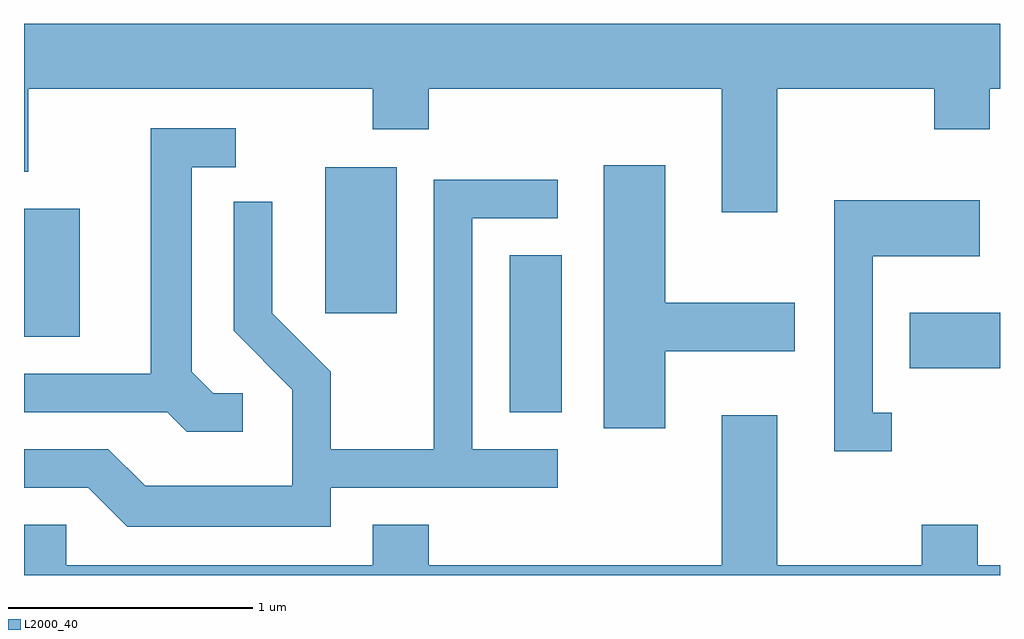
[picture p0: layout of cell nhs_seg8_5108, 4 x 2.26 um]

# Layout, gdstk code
import gdstk
lib = gdstk.Library(unit=1e-6, precision=1e-09)
def R(c, l, rs):  # rectangles x0, y0, x1, y1
    for r in rs: c.add(gdstk.rectangle(r[:2], r[2:], *l))
def P(c, l, *ps):  # polygons
    for p in ps: c.add(gdstk.Polygon(p, *l))
L2000_40 = (2000, 40)

nhs_seg8_5108 = lib.new_cell('nhs_seg8_5108')
R(nhs_seg8_5108, L2000_40, [(339.601,1915.011,339.814,1915.654), (341.241,1915.191,341.611,1915.419), (337.611,1915.321,337.839,1915.844), (338.846,1915.416,339.139,1916.014)])
P(nhs_seg8_5108, L2000_40, [(340.699,1916.336),(341.341,1916.336),(341.341,1916.171),(341.569,1916.171),(341.569,1916.336),(341.611,1916.336),(341.611,1916.604),(337.611,1916.604),(337.611,1915.996),(337.629,1915.996),(337.629,1916.336),(339.041,1916.336),(339.041,1916.171),(339.269,1916.171),(339.269,1916.336),(340.471,1916.336),(340.471,1915.831),(340.699,1915.831)],
  [(338.508,1915.089),(338.387,1915.089),(338.299,1915.177),(338.299,1916.016),(338.478,1916.016),(338.478,1916.174),(338.131,1916.174),(338.131,1915.169),(337.611,1915.169),(337.611,1915.011),(338.199,1915.011),(338.279,1914.931),(338.508,1914.931)],
  [(340.239,1915.261),(340.769,1915.261),(340.769,1915.459),(340.239,1915.459),(340.239,1916.024),(339.986,1916.024),(339.986,1914.946),(340.239,1914.946)],
  [(338.869,1914.701),(339.798,1914.701),(339.798,1914.859),(339.449,1914.859),(339.449,1915.806),(339.798,1915.806),(339.798,1915.964),(339.291,1915.964),(339.291,1914.859),(338.869,1914.859),(338.869,1915.177),(338.629,1915.417),(338.629,1915.873),(338.471,1915.873),(338.471,1915.344),(338.711,1915.104),(338.711,1914.709),(338.107,1914.709),(337.957,1914.859),(337.611,1914.859),(337.611,1914.701),(337.874,1914.701),(338.034,1914.541),(338.869,1914.541)],
  [(341.168,1915.009),(341.089,1915.009),(341.089,1915.651),(341.529,1915.651),(341.529,1915.879),(340.931,1915.879),(340.931,1914.851),(341.168,1914.851)],
  [(341.611,1914.384),(341.519,1914.384),(341.519,1914.549),(341.291,1914.549),(341.291,1914.384),(340.699,1914.384),(340.699,1914.999),(340.471,1914.999),(340.471,1914.384),(339.269,1914.384),(339.269,1914.549),(339.041,1914.549),(339.041,1914.384),(337.784,1914.384),(337.784,1914.549),(337.611,1914.549),(337.611,1914.342),(341.611,1914.342)])

lib.write_gds('nhs_seg8_5108.gds')
